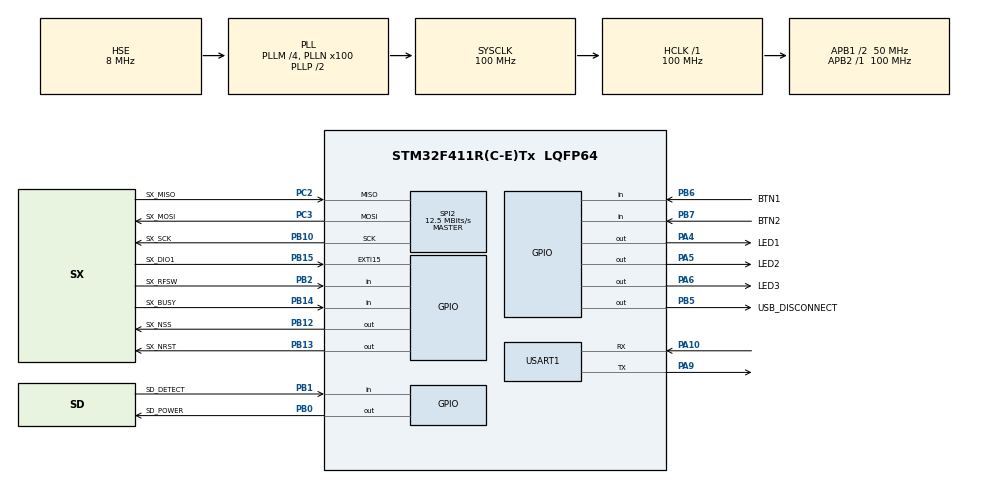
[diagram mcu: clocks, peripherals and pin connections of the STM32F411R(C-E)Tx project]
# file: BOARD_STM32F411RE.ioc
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Mcu.Family=STM32F4
Mcu.Name=STM32F411R(C-E)Tx
Mcu.Package=LQFP64
NVIC.PriorityGroup=NVIC_PRIORITYGROUP_4
NVIC.SPI2_IRQn=true\:0\:0\:false\:false\:true\:true\:true\:true
PA10.Mode=Asynchronous
PA10.Signal=USART1_RX
PA13.Mode=Trace_Asynchronous_SW
PA13.Signal=SYS_JTMS-SWDIO
PA14.Mode=Trace_Asynchronous_SW
PA14.Signal=SYS_JTCK-SWCLK
PA4.GPIO_Label=LED1
PA4.Signal=GPIO_Output
PA5.GPIO_Label=LED2
PA5.Signal=GPIO_Output
PA6.GPIO_Label=LED3
PA6.Signal=GPIO_Output
PA9.Mode=Asynchronous
PA9.Signal=USART1_TX
PB0.GPIO_Label=SD_POWER
PB0.Signal=GPIO_Output
PB1.GPIO_Label=SD_DETECT
PB1.Signal=GPIO_Input
PB10.GPIO_Label=SX_SCK
PB10.Mode=Full_Duplex_Master
PB10.Signal=SPI2_SCK
PB12.GPIO_Label=SX_NSS
PB12.GPIO_Speed=GPIO_SPEED_FREQ_VERY_HIGH
PB12.PinState=GPIO_PIN_SET
PB12.Signal=GPIO_Output
PB13.GPIO_Label=SX_NRST
PB13.GPIO_Speed=GPIO_SPEED_FREQ_VERY_HIGH
PB13.PinState=GPIO_PIN_SET
PB13.Signal=GPIO_Output
PB14.GPIO_Label=SX_BUSY
PB14.GPIO_PuPd=GPIO_PULLUP
PB14.Signal=GPIO_Input
PB15.GPIO_Label=SX_DIO1
PB15.GPIO_PuPd=GPIO_PULLUP
PB15.Signal=GPXTI15
PB2.GPIO_Label=SX_RFSW
PB2.GPIO_PuPd=GPIO_PULLUP
PB2.Signal=GPIO_Input
PB3.Mode=Trace_Asynchronous_SW
PB3.Signal=SYS_JTDO-SWO
PB5.GPIO_Label=USB_DISCONNECT
PB5.Signal=GPIO_Output
PB6.GPIO_Label=BTN1
PB6.Signal=GPIO_Input
PB7.GPIO_Label=BTN2
PB7.Signal=GPIO_Input
PC12.Signal=SDIO_CK
PC14-OSC32_IN.Mode=LSE-External-Oscillator
PC14-OSC32_IN.Signal=RCC_OSC32_IN
PC15-OSC32_OUT.Mode=LSE-External-Oscillator
PC15-OSC32_OUT.Signal=RCC_OSC32_OUT
PC2.GPIO_Label=SX_MISO
PC2.GPIO_PuPd=GPIO_PULLUP
PC2.Mode=Full_Duplex_Master
PC2.Signal=SPI2_MISO
PC3.GPIO_Label=SX_MOSI
PC3.Mode=Full_Duplex_Master
PC3.Signal=SPI2_MOSI
PH0\ -\ OSC_IN.Mode=HSE-External-Oscillator
PH0\ -\ OSC_IN.Signal=RCC_OSC_IN
PH1\ -\ OSC_OUT.Mode=HSE-External-Oscillator
PH1\ -\ OSC_OUT.Signal=RCC_OSC_OUT
ProjectManager.HeapSize=0x400
ProjectManager.StackSize=0x200
ProjectManager.TargetToolchain=EWARM V8.50
RCC.48MHZClocksFreq_Value=40000000
RCC.AHBFreq_Value=100000000
RCC.APB1CLKDivider=RCC_HCLK_DIV2
RCC.APB1Freq_Value=50000000
RCC.APB1TimFreq_Value=100000000
RCC.APB2Freq_Value=100000000
RCC.APB2TimFreq_Value=100000000
RCC.CortexFreq_Value=100000000
RCC.HCLKFreq_Value=100000000
RCC.HSE_VALUE=8000000
RCC.HSI_VALUE=16000000
RCC.PLLM=4
RCC.PLLN=100
RCC.PLLQ=5
RCC.PLLSourceVirtual=RCC_PLLSOURCE_HSE
RCC.RCC_RTC_Clock_Source=RCC_RTCCLKSOURCE_LSE
RCC.RCC_RTC_Clock_SourceVirtual=RCC_RTCCLKSOURCE_LSE
RCC.SYSCLKFreq_VALUE=100000000
RCC.SYSCLKSource=RCC_SYSCLKSOURCE_PLLCLK
RCC.VCOOutputFreq_Value=200000000
SPI2.BaudRatePrescaler=SPI_BAUDRATEPRESCALER_4
SPI2.CalculateBaudRate=12.5 MBits/s
SPI2.Direction=SPI_DIRECTION_2LINES
SPI2.Mode=SPI_MODE_MASTER
SPI2.VirtualType=VM_MASTER
USART1.VirtualMode=VM_ASYNC
VP_RTC_VS_RTC_Activate.Mode=RTC_Enabled
VP_RTC_VS_RTC_Calendar.Mode=RTC_Calendar
board=custom

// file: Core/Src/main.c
/* USER CODE BEGIN Header */
/**
  ******************************************************************************
  * @file           : main.c
  * @brief          : Main program body
  ******************************************************************************
  * @attention
  *
  * <h2><center>&copy; Copyright (c) 2021 STMicroelectronics.
  * All rights reserved.</center></h2>
  *
  * This software component is licensed by ST under Ultimate Liberty license
  * SLA0044, the "License"; You may not use this file except in compliance with
  * the License. You may obtain a copy of the License at:
  *                             www.st.com/SLA0044
  *
  ******************************************************************************
  */
/* USER CODE END Header */
#include "main.h"

RTC_HandleTypeDef hrtc;

SPI_HandleTypeDef hspi2;

UART_HandleTypeDef huart1;

/* USER CODE BEGIN PV */

RTC_TimeTypeDef sTime = {0};
RTC_DateTypeDef sDate = {0};

/* USER CODE END PV */

void SystemClock_Config(void);
static void MX_GPIO_Init(void);
static void MX_RTC_Init(void);
static void MX_USART1_UART_Init(void);
static void MX_SPI2_Init(void);

/* USER CODE BEGIN 0 */
int MyLowLevelPutchar(int x) // отправка байта в UART
{
#ifdef SEGGER_RTT_H
	SEGGER_RTT_PutChar(0, x);
#endif
  	HAL_UART_Transmit(&huart1, (uint8_t *)&x, 1, 0xFFFF);
	return(x);
}

int MyLowLevelGetchar() // получение байта из UART
{
  	uint8_t x;
	do
	{
	  	HAL_UART_Receive(&huart1, (uint8_t *)&x, 1, 0xFFFF);
	}
	while(x == 0);
	return((int)x);
}
/* USER CODE END 0 */

int main(void)
{

  /* MCU Configuration--------------------------------------------------------*/

  /* Reset of all peripherals, Initializes the Flash interface and the Systick. */
  HAL_Init();

  /* Configure the system clock */
  SystemClock_Config();

  /* Initialize all configured peripherals */
  MX_GPIO_Init();
  MX_RTC_Init();
  MX_USART1_UART_Init();
  MX_SPI2_Init();
  /* USER CODE BEGIN 2 */
	LOG_START();
	printf("\r\n (c) RusikOk %s %s \r\n", __DATE__, __TIME__); // приветствие

  /* USER CODE END 2 */

  /* Infinite loop */
  while (1)
  {

  }
}

void SystemClock_Config(void)
{
  RCC_OscInitTypeDef RCC_OscInitStruct = {0};
  RCC_ClkInitTypeDef RCC_ClkInitStruct = {0};

  /** Configure the main internal regulator output voltage
  */
  __HAL_RCC_PWR_CLK_ENABLE();
  __HAL_PWR_VOLTAGESCALING_CONFIG(PWR_REGULATOR_VOLTAGE_SCALE1);

  /** Initializes the RCC Oscillators according to the specified parameters
  * in the RCC_OscInitTypeDef structure.
  */
  RCC_OscInitStruct.OscillatorType = RCC_OSCILLATORTYPE_HSE|RCC_OSCILLATORTYPE_LSE;
  RCC_OscInitStruct.HSEState = RCC_HSE_ON;
  RCC_OscInitStruct.LSEState = RCC_LSE_ON;
  RCC_OscInitStruct.PLL.PLLState = RCC_PLL_ON;
  RCC_OscInitStruct.PLL.PLLSource = RCC_PLLSOURCE_HSE;
  RCC_OscInitStruct.PLL.PLLM = 4;
  RCC_OscInitStruct.PLL.PLLN = 100;
  RCC_OscInitStruct.PLL.PLLP = RCC_PLLP_DIV2;
  RCC_OscInitStruct.PLL.PLLQ = 5;
  if (HAL_RCC_OscConfig(&RCC_OscInitStruct) != HAL_OK)
  {
    Error_Handler();
  }

  /** Initializes the CPU, AHB and APB buses clocks
  */
  RCC_ClkInitStruct.ClockType = RCC_CLOCKTYPE_HCLK|RCC_CLOCKTYPE_SYSCLK
                              |RCC_CLOCKTYPE_PCLK1|RCC_CLOCKTYPE_PCLK2;
  RCC_ClkInitStruct.SYSCLKSource = RCC_SYSCLKSOURCE_PLLCLK;
  RCC_ClkInitStruct.AHBCLKDivider = RCC_SYSCLK_DIV1;
  RCC_ClkInitStruct.APB1CLKDivider = RCC_HCLK_DIV2;
  RCC_ClkInitStruct.APB2CLKDivider = RCC_HCLK_DIV1;

  if (HAL_RCC_ClockConfig(&RCC_ClkInitStruct, FLASH_LATENCY_3) != HAL_OK)
  {
    Error_Handler();
  }
}

static void MX_RTC_Init(void)
{

  RTC_TimeTypeDef sTime = {0};
  RTC_DateTypeDef sDate = {0};

  /* USER CODE BEGIN RTC_Init 1 */

	if(ENABLE == (*(__IO uint32_t *)RCC_BDCR_RTCEN_BB)) // если батарейка жива и часы идут
		return; // то пропустим инициализачию часов нулями

  /* USER CODE END RTC_Init 1 */

  /** Initialize RTC Only
  */
  hrtc.Instance = RTC;
  hrtc.Init.HourFormat = RTC_HOURFORMAT_24;
  hrtc.Init.AsynchPrediv = 127;
  hrtc.Init.SynchPrediv = 255;
  hrtc.Init.OutPut = RTC_OUTPUT_DISABLE;
  hrtc.Init.OutPutPolarity = RTC_OUTPUT_POLARITY_HIGH;
  hrtc.Init.OutPutType = RTC_OUTPUT_TYPE_OPENDRAIN;
  if (HAL_RTC_Init(&hrtc) != HAL_OK)
  {
    Error_Handler();
  }

  /** Initialize RTC and set the Time and Date
  */
  sTime.Hours = 0x0;
  sTime.Minutes = 0x0;
  sTime.Seconds = 0x0;
  sTime.DayLightSaving = RTC_DAYLIGHTSAVING_NONE;
  sTime.StoreOperation = RTC_STOREOPERATION_RESET;
  if (HAL_RTC_SetTime(&hrtc, &sTime, RTC_FORMAT_BCD) != HAL_OK)
  {
    Error_Handler();
  }
  sDate.WeekDay = RTC_WEEKDAY_MONDAY;
  sDate.Month = RTC_MONTH_JANUARY;
  sDate.Date = 0x1;
  sDate.Year = 0x0;

  if (HAL_RTC_SetDate(&hrtc, &sDate, RTC_FORMAT_BCD) != HAL_OK)
  {
    Error_Handler();
  }

}

static void MX_SPI2_Init(void)
{

  /* SPI2 parameter configuration*/
  hspi2.Instance = SPI2;
  hspi2.Init.Mode = SPI_MODE_MASTER;
  hspi2.Init.Direction = SPI_DIRECTION_2LINES;
  hspi2.Init.DataSize = SPI_DATASIZE_8BIT;
  hspi2.Init.CLKPolarity = SPI_POLARITY_LOW;
  hspi2.Init.CLKPhase = SPI_PHASE_1EDGE;
  hspi2.Init.NSS = SPI_NSS_SOFT;
  hspi2.Init.BaudRatePrescaler = SPI_BAUDRATEPRESCALER_4;
  hspi2.Init.FirstBit = SPI_FIRSTBIT_MSB;
  hspi2.Init.TIMode = SPI_TIMODE_DISABLE;
  hspi2.Init.CRCCalculation = SPI_CRCCALCULATION_DISABLE;
  hspi2.Init.CRCPolynomial = 10;
  if (HAL_SPI_Init(&hspi2) != HAL_OK)
  {
    Error_Handler();
  }

}

static void MX_USART1_UART_Init(void)
{

  huart1.Instance = USART1;
  huart1.Init.BaudRate = 115200;
  huart1.Init.WordLength = UART_WORDLENGTH_8B;
  huart1.Init.StopBits = UART_STOPBITS_1;
  huart1.Init.Parity = UART_PARITY_NONE;
  huart1.Init.Mode = UART_MODE_TX_RX;
  huart1.Init.HwFlowCtl = UART_HWCONTROL_NONE;
  huart1.Init.OverSampling = UART_OVERSAMPLING_16;
  if (HAL_UART_Init(&huart1) != HAL_OK)
  {
    Error_Handler();
  }

}

static void MX_GPIO_Init(void)
{
  GPIO_InitTypeDef GPIO_InitStruct = {0};

  /* GPIO Ports Clock Enable */
  __HAL_RCC_GPIOC_CLK_ENABLE();
  __HAL_RCC_GPIOH_CLK_ENABLE();
  __HAL_RCC_GPIOA_CLK_ENABLE();
  __HAL_RCC_GPIOB_CLK_ENABLE();

  /*Configure GPIO pin Output Level */
  HAL_GPIO_WritePin(GPIOA, LED1_Pin|LED2_Pin|LED3_Pin, GPIO_PIN_RESET);

  /*Configure GPIO pin Output Level */
  HAL_GPIO_WritePin(GPIOB, SD_POWER_Pin|USB_DISCONNECT_Pin, GPIO_PIN_RESET);

  /*Configure GPIO pin Output Level */
  HAL_GPIO_WritePin(GPIOB, SX_NSS_Pin|SX_NRST_Pin, GPIO_PIN_SET);

  /*Configure GPIO pins : LED1_Pin LED2_Pin LED3_Pin */
  GPIO_InitStruct.Pin = LED1_Pin|LED2_Pin|LED3_Pin;
  GPIO_InitStruct.Mode = GPIO_MODE_OUTPUT_PP;
  GPIO_InitStruct.Pull = GPIO_NOPULL;
  GPIO_InitStruct.Speed = GPIO_SPEED_FREQ_LOW;
  HAL_GPIO_Init(GPIOA, &GPIO_InitStruct);

  /*Configure GPIO pins : SD_POWER_Pin USB_DISCONNECT_Pin */
  GPIO_InitStruct.Pin = SD_POWER_Pin|USB_DISCONNECT_Pin;
  GPIO_InitStruct.Mode = GPIO_MODE_OUTPUT_PP;
  GPIO_InitStruct.Pull = GPIO_NOPULL;
  GPIO_InitStruct.Speed = GPIO_SPEED_FREQ_LOW;
  HAL_GPIO_Init(GPIOB, &GPIO_InitStruct);

  /*Configure GPIO pins : SD_DETECT_Pin BTN1_Pin BTN2_Pin */
  GPIO_InitStruct.Pin = SD_DETECT_Pin|BTN1_Pin|BTN2_Pin;
  GPIO_InitStruct.Mode = GPIO_MODE_INPUT;
  GPIO_InitStruct.Pull = GPIO_NOPULL;
  HAL_GPIO_Init(GPIOB, &GPIO_InitStruct);

  /*Configure GPIO pins : SX_RFSW_Pin SX_BUSY_Pin */
  GPIO_InitStruct.Pin = SX_RFSW_Pin|SX_BUSY_Pin;
  GPIO_InitStruct.Mode = GPIO_MODE_INPUT;
  GPIO_InitStruct.Pull = GPIO_PULLUP;
  HAL_GPIO_Init(GPIOB, &GPIO_InitStruct);

  /*Configure GPIO pins : SX_NSS_Pin SX_NRST_Pin */
  GPIO_InitStruct.Pin = SX_NSS_Pin|SX_NRST_Pin;
  GPIO_InitStruct.Mode = GPIO_MODE_OUTPUT_PP;
  GPIO_InitStruct.Pull = GPIO_NOPULL;
  GPIO_InitStruct.Speed = GPIO_SPEED_FREQ_VERY_HIGH;
  HAL_GPIO_Init(GPIOB, &GPIO_InitStruct);

  /*Configure GPIO pin : SX_DIO1_Pin */
  GPIO_InitStruct.Pin = SX_DIO1_Pin;
  GPIO_InitStruct.Mode = GPIO_MODE_IT_RISING;
  GPIO_InitStruct.Pull = GPIO_PULLUP;
  HAL_GPIO_Init(SX_DIO1_GPIO_Port, &GPIO_InitStruct);

  /*Configure GPIO pin : PC12 */
  GPIO_InitStruct.Pin = GPIO_PIN_12;
  GPIO_InitStruct.Mode = GPIO_MODE_AF_PP;
  GPIO_InitStruct.Pull = GPIO_NOPULL;
  GPIO_InitStruct.Speed = GPIO_SPEED_FREQ_VERY_HIGH;
  GPIO_InitStruct.Alternate = GPIO_AF12_SDIO;
  HAL_GPIO_Init(GPIOC, &GPIO_InitStruct);

}

void Error_Handler(void)
{
  __disable_irq();
  while (1)
  {
  }
}
